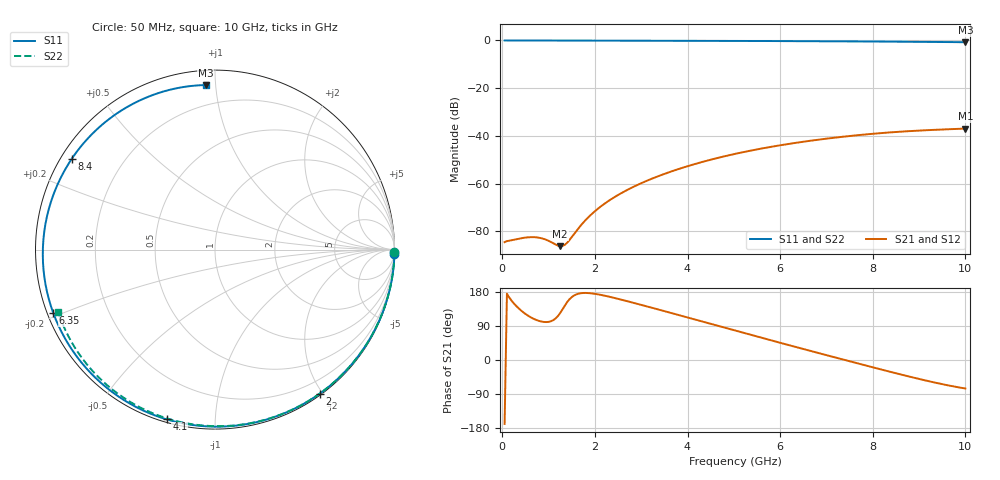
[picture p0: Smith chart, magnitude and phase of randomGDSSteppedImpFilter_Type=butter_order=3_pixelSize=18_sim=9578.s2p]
! freq	dB(S11)	phase(S11)	dB(S12)	phase(S12)
!  dB(S21)	phase(S21)	dB(S22)	phase(S22)
!S-par simulation data
#  GHz  S  DB  R 50
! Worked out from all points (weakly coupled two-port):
!   200 points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, 50 MHz to 10 GHz, reference 50 ohm
!   highest |S21| = -36.95 dB at 10 GHz (marker M1); lowest = -86.2 dB at 1.25 GHz (marker M2)
!   lowest |S11| = -0.7 dB at 10 GHz (marker M3), VSWR 23.46, Z = 4.03 + j47.1 ohm
!   |S11| at or under -10 dB: nowhere
!   |S22| runs from -0.5 to 0.0 dB; largest |S21 - S12| = 0
!   S11 on the Smith chart (normalised r, x): 50 MHz: 0, -82; 2 GHz: 0.02, -1.96; 4.1 GHz: 0.01, -0.75; 6.35 GHz: 0.02, -0.19; 8.4 GHz: 0.03, +0.29; 10 GHz: 0.08, +0.94
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0.05  -0.00 -1.4  -84.55 -168.6  -84.55 -168.6  -0.00 -0.9
0.65  -0.02 -18.0  -82.45 110.3  -82.45 110.3  -0.01 -11.8
1.25  -0.04 -34.2  -86.24 124.0  -86.24 124.0  -0.03 -22.6
1.6  -0.06 -43.6  -79.82 173.2  -79.82 173.2  -0.04 -28.9
1.75  -0.06 -47.5  -76.31 176.9  -76.31 176.9  -0.04 -31.5
2  -0.07 -54.0  -71.58 174.7  -71.58 174.7  -0.05 -35.9
2.3  -0.08 -61.8  -67.19 167.3  -67.19 167.3  -0.05 -41.1
2.6  -0.09 -69.4  -63.68 158.3  -63.68 158.3  -0.06 -46.3
3.4  -0.12 -89.2  -56.66 132.3  -56.66 132.3  -0.08 -59.8
4.1  -0.14 -105.9  -52.13 108.9  -52.13 108.9  -0.10 -71.2
5.05  -0.19 -128.1  -47.45 77.0  -47.45 77.0  -0.13 -86.1
5.7  -0.23 -143.2  -44.94 55.3  -44.94 55.3  -0.16 -96.0
6.35  -0.28 -158.6  -42.88 33.9  -42.88 33.9  -0.19 -105.7
6.7  -0.31 -167.0  -41.92 22.5  -41.92 22.5  -0.22 -110.8
7.55  -0.40 171.4  -39.96 -4.9  -39.96 -4.9  -0.28 -123.1
7.95  -0.44 160.5  -39.21 -17.7  -39.21 -17.7  -0.31 -128.8
8.35  -0.49 149.1  -38.58 -30.3  -38.58 -30.3  -0.34 -134.5
8.4  -0.49 147.6  -38.50 -31.9  -38.50 -31.9  -0.35 -135.2
8.85  -0.55 133.7  -37.94 -45.6  -37.94 -45.6  -0.39 -141.6
9.3  -0.61 118.8  -37.49 -58.5  -37.49 -58.5  -0.44 -148.0
9.65  -0.67 106.4  -37.21 -67.5  -37.21 -67.5  -0.49 -153.1
10  -0.74 93.2  -36.95 -75.2  -36.95 -75.2  -0.53 -158.2
